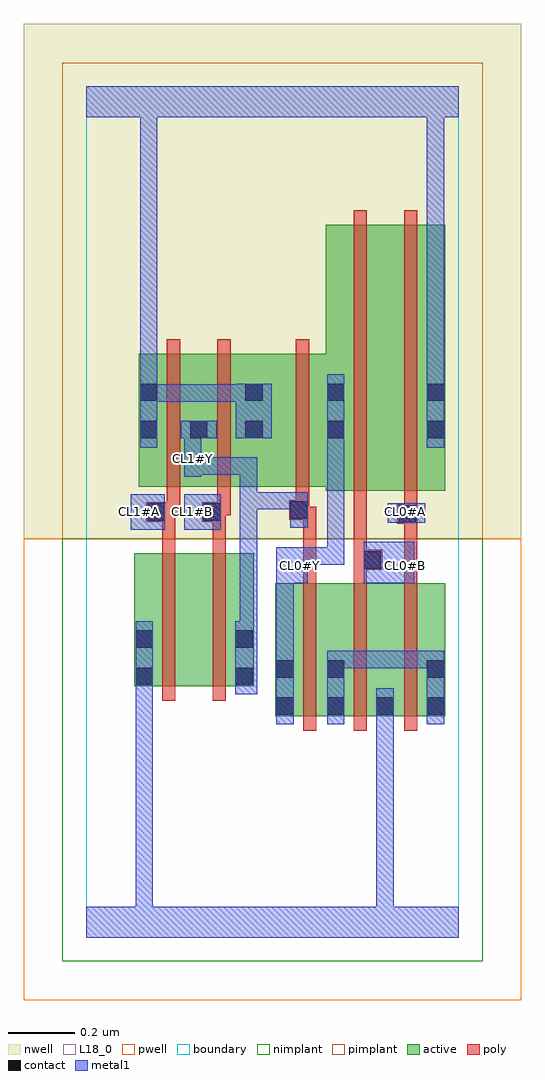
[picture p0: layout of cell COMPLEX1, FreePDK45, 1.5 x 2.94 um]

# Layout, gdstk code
import gdstk
lib = gdstk.Library(unit=1e-6, precision=1e-09)
def R(c, l, rs):  # rectangles x0, y0, x1, y1
    for r in rs: c.add(gdstk.rectangle(r[:2], r[2:], *l))
def A(c, l, x, y, w, h, nx, ny, dx, dy):  # array of equal rectangles
    R(c, l, [(x+i*dx, y+j*dy, x+i*dx+w, y+j*dy+h) for i in range(nx) for j in range(ny)])
active = (1, 0)
pwell = (2, 0)
nwell = (3, 0)
nimplant = (4, 0)
pimplant = (5, 0)
poly = (9, 0)
contact = (10, 0)
metal1 = (11, 0)
L18_0 = (18, 0)
boundary = (235, 0)

complex1 = lib.new_cell('COMPLEX1')
R(complex1, active, [(0.568,0.666,0.628,1.066), (0.568,0.666,0.78,1.066), (0.72,0.666,0.78,1.066), (0.72,0.666,0.928,1.066), (0.868,0.666,1.08,1.066), (0.868,0.666,0.928,0.726), (1.02,0.666,1.08,1.066), (0.144,0.756,0.204,1.156), (0.144,0.756,0.324,1.156), (0.324,0.756,0.504,1.156), (0.444,0.756,0.504,1.156), (0.72,1.344,0.9,2.144), (0.9,1.344,1.08,2.144), (1.02,1.344,1.08,2.144), (0.158,1.356,0.218,1.756), (0.158,1.356,0.368,1.756), (0.308,1.356,0.534,1.756), (0.308,1.356,0.368,1.644), (0.474,1.356,0.534,1.67), (0.474,1.356,0.78,1.756), (0.72,1.356,0.78,1.67)])
R(complex1, pwell, [(-0.188,-0.188,1.308,1.2)])
R(complex1, nwell, [(-0.188,1.2,1.308,2.748)])
R(complex1, nimplant, [(-0.072,-0.072,1.192,1.2)])
R(complex1, pimplant, [(-0.072,1.2,1.192,2.632)])
A(complex1, poly, 0.652, 0.622, 0.04, 0.488, 3, 1, 0.152, 0)
R(complex1, poly, [(0.228,0.712,0.268,1.2), (0.38,0.712,0.42,1.2), (0.652,1.07,0.692,1.296), (0.804,1.07,0.844,1.146), (0.956,1.07,0.996,1.284), (0.804,1.106,0.89,1.166), (0.804,1.126,0.844,1.166), (0.804,1.126,0.844,1.166), (0.804,1.126,0.844,1.34), (0.228,1.16,0.268,1.29), (0.38,1.16,0.42,1.29), (0.936,1.244,0.996,1.304), (0.956,1.244,0.996,1.284), (0.956,1.244,0.996,1.284), (0.18,1.25,0.268,1.31), (0.348,1.25,0.42,1.31), (0.61,1.256,0.67,1.316), (0.63,1.256,0.67,1.296), (0.63,1.256,0.692,1.296), (0.956,1.264,0.996,1.34), (0.228,1.27,0.268,1.31), (0.228,1.27,0.282,1.31), (0.242,1.27,0.282,1.352), (0.38,1.27,0.42,1.31), (0.38,1.27,0.434,1.31), (0.394,1.27,0.434,1.352), (0.63,1.276,0.67,1.352), (0.804,1.3,0.844,2.188), (0.956,1.3,0.996,2.188), (0.242,1.312,0.282,1.8), (0.394,1.312,0.434,1.8), (0.63,1.312,0.67,1.8)])
R(complex1, contact, [(0.572,0.67,0.624,0.722), (0.724,0.67,0.776,0.722), (0.872,0.67,0.924,0.722), (1.024,0.67,1.076,0.722), (0.148,0.76,0.2,0.812), (0.448,0.76,0.5,0.812), (0.572,0.782,0.624,0.834), (0.724,0.782,0.776,0.834), (1.024,0.782,1.076,0.834), (0.148,0.872,0.2,0.924), (0.448,0.872,0.5,0.924), (0.834,1.11,0.886,1.162), (0.94,1.248,0.992,1.3), (0.184,1.254,0.236,1.306), (0.352,1.254,0.404,1.306), (0.614,1.26,0.666,1.312), (0.162,1.502,0.214,1.554), (0.312,1.502,0.364,1.554), (0.478,1.502,0.53,1.554), (0.724,1.502,0.776,1.554), (1.024,1.502,1.076,1.554), (0.162,1.614,0.214,1.666), (0.478,1.614,0.53,1.666), (0.724,1.614,0.776,1.666), (1.024,1.614,1.076,1.666)])
R(complex1, metal1, [(0,0,1.12,0.092), (0.148,0.04,0.2,0.092), (0.148,0.04,0.2,0.092), (0.148,0.04,0.2,0.092), (0.148,0.04,0.2,0.092), (0.148,0.04,0.2,0.092), (0.148,0.04,0.2,0.092), (0.148,0.04,0.2,0.092), (0.148,0.04,0.2,0.092), (0.148,0.04,0.2,0.092), (0.148,0.04,0.2,0.092), (0.148,0.04,0.2,0.784), (0.872,0.04,0.924,0.694), (0.572,0.642,0.624,0.862), (0.724,0.642,0.776,0.862), (0.872,0.642,0.924,0.694), (0.872,0.642,0.924,0.694), (0.872,0.642,0.924,0.694), (0.872,0.642,0.924,0.694), (0.872,0.642,0.924,0.694), (0.872,0.642,0.924,0.694), (0.872,0.642,0.924,0.694), (0.872,0.642,0.924,0.694), (0.872,0.642,0.924,0.694), (0.872,0.642,0.924,0.694), (0.872,0.642,0.924,0.694), (0.872,0.642,0.924,0.694), (0.872,0.642,0.924,0.75), (1.024,0.642,1.076,0.862), (0.148,0.732,0.2,0.784), (0.148,0.732,0.2,0.784), (0.148,0.732,0.2,0.952), (0.448,0.732,0.514,0.952), (0.572,0.81,0.624,1.118), (0.724,0.81,0.776,0.862), (0.724,0.81,0.776,0.862), (0.724,0.81,0.886,0.862), (0.834,0.81,0.886,0.862), (0.834,0.81,1.076,0.862), (1.024,0.81,1.076,0.862), (1.024,0.81,1.076,0.862), (0.462,0.9,0.514,1.34), (0.572,1.066,0.666,1.174), (0.834,1.066,0.986,1.19), (0.614,1.122,0.666,1.174), (0.614,1.122,0.666,1.174), (0.614,1.122,0.776,1.174), (0.724,1.122,0.776,1.174), (0.724,1.122,0.776,1.174), (0.724,1.122,0.776,1.174), (0.724,1.122,0.776,1.526), (0.134,1.226,0.236,1.334), (0.294,1.226,0.404,1.334), (0.614,1.232,0.666,1.34), (0.906,1.248,1.02,1.306), (0.462,1.288,0.514,1.34), (0.462,1.288,0.514,1.34), (0.462,1.288,0.514,1.34), (0.462,1.288,0.514,1.34), (0.462,1.288,0.666,1.34), (0.462,1.288,0.514,1.444), (0.294,1.386,0.346,1.494), (0.294,1.392,0.346,1.444), (0.294,1.392,0.346,1.444), (0.294,1.392,0.514,1.444), (0.294,1.442,0.346,1.554), (0.162,1.474,0.214,1.694), (0.724,1.474,0.776,1.694), (1.024,1.474,1.076,1.694), (0.284,1.502,0.392,1.554), (0.45,1.502,0.558,1.666), (0.162,1.612,0.214,1.664), (0.162,1.612,0.214,1.664), (0.162,1.612,0.39,1.664), (0.338,1.612,0.39,1.664), (0.338,1.612,0.39,1.664), (0.338,1.612,0.39,1.664), (0.338,1.612,0.502,1.664), (0.162,1.642,0.214,1.694), (0.162,1.642,0.214,1.694), (0.162,1.642,0.214,2.52), (1.024,1.642,1.076,1.694), (1.024,1.642,1.076,1.694), (1.024,1.642,1.076,2.52), (0,2.468,1.12,2.56), (0.162,2.468,0.214,2.52), (0.162,2.468,0.214,2.52), (0.162,2.468,0.214,2.52), (0.162,2.468,0.214,2.52), (0.162,2.468,0.214,2.52), (0.162,2.468,0.214,2.52), (0.162,2.468,0.214,2.52), (0.162,2.468,0.214,2.52), (0.162,2.468,0.214,2.52), (0.162,2.468,0.214,2.52), (0.162,2.468,0.214,2.52), (0.162,2.468,0.214,2.52), (0.162,2.468,0.214,2.52), (0.162,2.468,0.214,2.52), (1.024,2.468,1.076,2.52), (1.024,2.468,1.076,2.52), (1.024,2.468,1.076,2.52), (1.024,2.468,1.076,2.52), (1.024,2.468,1.076,2.52), (1.024,2.468,1.076,2.52)])
R(complex1, L18_0, [(0,0,1.12,0.092), (0.148,0.04,0.2,0.092), (0.148,0.04,0.2,0.092), (0.148,0.04,0.2,0.092), (0.148,0.04,0.2,0.092), (0.148,0.04,0.2,0.092), (0.148,0.04,0.2,0.092), (0.148,0.04,0.2,0.092), (0.148,0.04,0.2,0.092), (0.148,0.04,0.2,0.092), (0.148,0.04,0.2,0.092), (0.148,0.04,0.2,0.784), (0.872,0.04,0.924,0.694), (0.572,0.642,0.624,0.862), (0.872,0.642,0.924,0.694), (0.872,0.642,0.924,0.694), (0.872,0.642,0.924,0.694), (0.872,0.642,0.924,0.694), (0.872,0.642,0.924,0.694), (0.872,0.642,0.924,0.694), (0.872,0.642,0.924,0.694), (0.872,0.642,0.924,0.694), (0.872,0.642,0.924,0.694), (0.872,0.642,0.924,0.694), (0.872,0.642,0.924,0.694), (0.872,0.642,0.924,0.694), (0.872,0.642,0.924,0.75), (0.148,0.732,0.2,0.784), (0.148,0.732,0.2,0.784), (0.148,0.732,0.2,0.952), (0.448,0.732,0.514,0.952), (0.572,0.81,0.624,1.118), (0.462,0.9,0.514,1.34), (0.572,1.066,0.666,1.174), (0.834,1.066,0.986,1.19), (0.614,1.094,0.666,1.146), (0.934,1.094,0.986,1.146), (0.614,1.122,0.666,1.174), (0.614,1.122,0.666,1.174), (0.614,1.122,0.776,1.174), (0.724,1.122,0.776,1.174), (0.724,1.122,0.776,1.174), (0.724,1.122,0.776,1.174), (0.724,1.122,0.776,1.526), (0.134,1.226,0.236,1.334), (0.294,1.226,0.404,1.334), (0.614,1.232,0.666,1.34), (0.906,1.248,1.02,1.306), (0.134,1.254,0.186,1.306), (0.294,1.254,0.346,1.306), (0.934,1.254,0.986,1.306), (0.462,1.288,0.514,1.34), (0.462,1.288,0.514,1.34), (0.462,1.288,0.514,1.34), (0.462,1.288,0.514,1.34), (0.462,1.288,0.514,1.444), (0.462,1.288,0.666,1.34), (0.294,1.386,0.346,1.494), (0.294,1.392,0.346,1.444), (0.294,1.392,0.346,1.444), (0.294,1.392,0.514,1.444), (0.294,1.414,0.346,1.466), (0.294,1.442,0.346,1.554), (0.162,1.474,0.214,1.694), (0.724,1.474,0.776,1.694), (1.024,1.474,1.076,1.694), (0.284,1.502,0.392,1.554), (0.45,1.502,0.558,1.666), (0.162,1.612,0.214,1.664), (0.162,1.612,0.214,1.664), (0.162,1.612,0.39,1.664), (0.338,1.612,0.39,1.664), (0.338,1.612,0.39,1.664), (0.338,1.612,0.39,1.664), (0.338,1.612,0.502,1.664), (0.162,1.642,0.214,1.694), (0.162,1.642,0.214,1.694), (0.162,1.642,0.214,2.52), (1.024,1.642,1.076,1.694), (1.024,1.642,1.076,1.694), (1.024,1.642,1.076,2.52), (0,2.468,1.12,2.56), (0.162,2.468,0.214,2.52), (0.162,2.468,0.214,2.52), (0.162,2.468,0.214,2.52), (0.162,2.468,0.214,2.52), (0.162,2.468,0.214,2.52), (0.162,2.468,0.214,2.52), (0.162,2.468,0.214,2.52), (0.162,2.468,0.214,2.52), (0.162,2.468,0.214,2.52), (0.162,2.468,0.214,2.52), (0.162,2.468,0.214,2.52), (0.162,2.468,0.214,2.52), (0.162,2.468,0.214,2.52), (0.162,2.468,0.214,2.52), (1.024,2.468,1.076,2.52), (1.024,2.468,1.076,2.52), (1.024,2.468,1.076,2.52), (1.024,2.468,1.076,2.52), (1.024,2.468,1.076,2.52), (1.024,2.468,1.076,2.52)])
R(complex1, boundary, [(0,0,1.12,2.56)])
complex1.add(gdstk.Label('CL0#A', (0.96,1.28), layer=11, texttype=0))
complex1.add(gdstk.Label('CL0#B', (0.96,1.12), layer=11, texttype=0))
complex1.add(gdstk.Label('CL0#Y', (0.64,1.12), layer=11, texttype=0))
complex1.add(gdstk.Label('CL1#A', (0.16,1.28), layer=11, texttype=0))
complex1.add(gdstk.Label('CL1#B', (0.32,1.28), layer=11, texttype=0))
complex1.add(gdstk.Label('CL1#Y', (0.32,1.44), layer=11, texttype=0))

lib.write_gds('COMPLEX1.gds')
